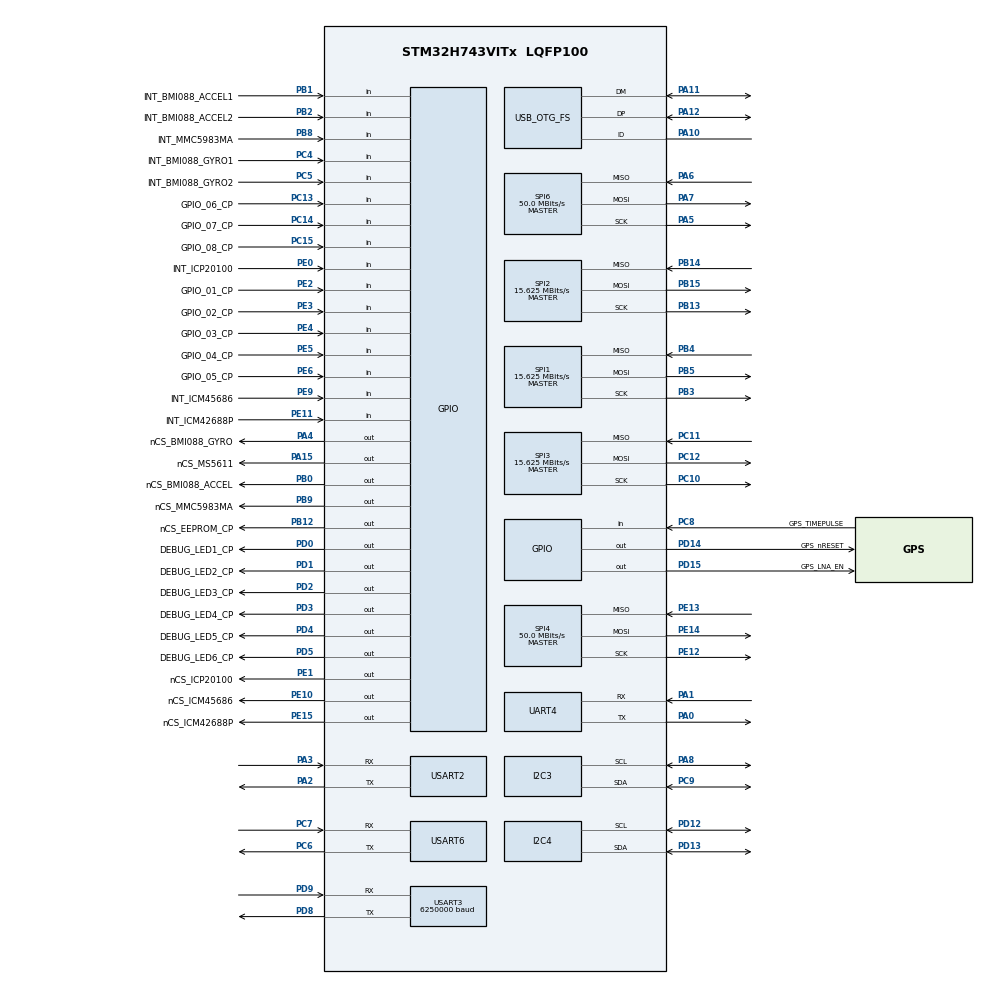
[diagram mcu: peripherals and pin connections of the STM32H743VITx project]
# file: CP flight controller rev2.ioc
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CORTEX_M7.default_mode_Activation=1
I2C3.Timing=0x10C0ECFF
I2C4.Timing=0x10C0ECFF
Mcu.Family=STM32H7
Mcu.Name=STM32H743VITx
Mcu.Package=LQFP100
NVIC.PriorityGroup=NVIC_PRIORITYGROUP_4
NVIC.TIM7_IRQn=true\:0\:0\:false\:false\:true\:true\:true\:true
NVIC.UART4_IRQn=true\:0\:0\:false\:false\:true\:true\:true\:true
NVIC.USART2_IRQn=true\:0\:0\:false\:false\:true\:true\:true\:true
NVIC.USART3_IRQn=true\:0\:0\:false\:false\:true\:true\:true\:true
NVIC.USART6_IRQn=true\:0\:0\:false\:false\:true\:true\:true\:true
PA0.Mode=Asynchronous
PA0.Signal=UART4_TX
PA1.Mode=Asynchronous
PA1.Signal=UART4_RX
PA10.Mode=OTG/Dual_Role_Device
PA10.PinAttribute=Free
PA10.Signal=USB_OTG_FS_ID
PA11.Mode=OTG/Dual_Role_Device
PA11.PinAttribute=Free
PA11.Signal=USB_OTG_FS_DM
PA12.Mode=OTG/Dual_Role_Device
PA12.PinAttribute=Free
PA12.Signal=USB_OTG_FS_DP
PA13\ (JTMS/SWDIO).Mode=Serial_Wire
PA13\ (JTMS/SWDIO).PinAttribute=Free
PA13\ (JTMS/SWDIO).Signal=DEBUG_JTMS-SWDIO
PA14\ (JTCK/SWCLK).Mode=Serial_Wire
PA14\ (JTCK/SWCLK).PinAttribute=Free
PA14\ (JTCK/SWCLK).Signal=DEBUG_JTCK-SWCLK
PA15\ (JTDI).GPIO_Label=nCS_MS5611
PA15\ (JTDI).Signal=GPIO_Output
PA2.Mode=Asynchronous
PA2.Signal=USART2_TX
PA3.Mode=Asynchronous
PA3.Signal=USART2_RX
PA4.GPIO_Label=nCS_BMI088_GYRO
PA4.Signal=GPIO_Output
PA5.Mode=Full_Duplex_Master
PA5.Signal=SPI6_SCK
PA6.Mode=Full_Duplex_Master
PA6.Signal=SPI6_MISO
PA7.Mode=Full_Duplex_Master
PA7.Signal=SPI6_MOSI
PA8.Mode=I2C
PA8.PinAttribute=Free
PA8.Signal=I2C3_SCL
PB0.GPIO_Label=nCS_BMI088_ACCEL
PB0.Signal=GPIO_Output
PB1.GPIO_Label=INT_BMI088_ACCEL1
PB1.Signal=GPIO_Input
PB12.GPIO_Label=nCS_EEPROM_CP
PB12.Signal=GPIO_Output
PB13.Mode=Full_Duplex_Master
PB13.Signal=SPI2_SCK
PB14.Mode=Full_Duplex_Master
PB14.Signal=SPI2_MISO
PB15.Mode=Full_Duplex_Master
PB15.Signal=SPI2_MOSI
PB2.GPIO_Label=INT_BMI088_ACCEL2
PB2.Signal=GPIO_Input
PB3\ (JTDO/TRACESWO).Mode=Full_Duplex_Master
PB3\ (JTDO/TRACESWO).Signal=SPI1_SCK
PB4\ (NJTRST).Mode=Full_Duplex_Master
PB4\ (NJTRST).Signal=SPI1_MISO
PB5.Mode=Full_Duplex_Master
PB5.Signal=SPI1_MOSI
PB8.GPIO_Label=INT_MMC5983MA
PB8.Signal=GPIO_Input
PB9.GPIO_Label=nCS_MMC5983MA
PB9.Signal=GPIO_Output
PC10.Mode=Full_Duplex_Master
PC10.PinAttribute=Free
PC10.Signal=SPI3_SCK
PC11.Mode=Full_Duplex_Master
PC11.Signal=SPI3_MISO
PC12.Mode=Full_Duplex_Master
PC12.PinAttribute=Free
PC12.Signal=SPI3_MOSI
PC13.GPIO_Label=GPIO_06_CP
PC13.Signal=GPIO_Input
PC14-OSC32_IN\ (OSC32_IN).GPIO_Label=GPIO_07_CP
PC14-OSC32_IN\ (OSC32_IN).Signal=GPIO_Input
PC15-OSC32_OUT\ (OSC32_OUT).GPIO_Label=GPIO_08_CP
PC15-OSC32_OUT\ (OSC32_OUT).Signal=GPIO_Input
PC4.GPIO_Label=INT_BMI088_GYRO1
PC4.Signal=GPIO_Input
PC5.GPIO_Label=INT_BMI088_GYRO2
PC5.Signal=GPIO_Input
PC6.Mode=Asynchronous
PC6.PinAttribute=Free
PC6.Signal=USART6_TX
PC7.Mode=Asynchronous
PC7.PinAttribute=Free
PC7.Signal=USART6_RX
PC8.GPIO_Label=GPS_TIMEPULSE
PC8.Signal=GPIO_Input
PC9.Mode=I2C
PC9.PinAttribute=Free
PC9.Signal=I2C3_SDA
PD0.GPIO_Label=DEBUG_LED1_CP
PD0.Signal=GPIO_Output
PD1.GPIO_Label=DEBUG_LED2_CP
PD1.Signal=GPIO_Output
PD12.Mode=I2C
PD12.PinAttribute=Free
PD12.Signal=I2C4_SCL
PD13.Mode=I2C
PD13.PinAttribute=Free
PD13.Signal=I2C4_SDA
PD14.GPIO_Label=GPS_nRESET
PD14.Signal=GPIO_Output
PD15.GPIO_Label=GPS_LNA_EN
PD15.Signal=GPIO_Output
PD2.GPIO_Label=DEBUG_LED3_CP
PD2.Signal=GPIO_Output
PD3.GPIO_Label=DEBUG_LED4_CP
PD3.Signal=GPIO_Output
PD4.GPIO_Label=DEBUG_LED5_CP
PD4.Signal=GPIO_Output
PD5.GPIO_Label=DEBUG_LED6_CP
PD5.Signal=GPIO_Output
PD8.Mode=Asynchronous
PD8.Signal=USART3_TX
PD9.Mode=Asynchronous
PD9.PinAttribute=Free
PD9.Signal=USART3_RX
PE0.GPIO_Label=INT_ICP20100
PE0.Signal=GPIO_Input
PE1.GPIO_Label=nCS_ICP20100
PE1.Signal=GPIO_Output
PE10.GPIO_Label=nCS_ICM45686
PE10.Signal=GPIO_Output
PE11.GPIO_Label=INT_ICM42688P
PE11.Signal=GPIO_Input
PE12.Mode=Full_Duplex_Master
PE12.Signal=SPI4_SCK
PE13.Mode=Full_Duplex_Master
PE13.Signal=SPI4_MISO
PE14.Mode=Full_Duplex_Master
PE14.Signal=SPI4_MOSI
PE15.GPIO_Label=nCS_ICM42688P
PE15.Signal=GPIO_Output
PE2.GPIO_Label=GPIO_01_CP
PE2.Signal=GPIO_Input
PE3.GPIO_Label=GPIO_02_CP
PE3.Signal=GPIO_Input
PE4.GPIO_Label=GPIO_03_CP
PE4.Signal=GPIO_Input
PE5.GPIO_Label=GPIO_04_CP
PE5.Signal=GPIO_Input
PE6.GPIO_Label=GPIO_05_CP
PE6.Signal=GPIO_Input
PE9.GPIO_Label=INT_ICM45686
PE9.Signal=GPIO_Input
PH0-OSC_IN\ (PH0).Mode=HSE-External-Oscillator
PH0-OSC_IN\ (PH0).Signal=RCC_OSC_IN
PH1-OSC_OUT\ (PH1).Mode=HSE-External-Oscillator
PH1-OSC_OUT\ (PH1).Signal=RCC_OSC_OUT
ProjectManager.HeapSize=0x200
ProjectManager.StackSize=0x400
ProjectManager.TargetToolchain=STM32CubeIDE
RCC.ADCFreq_Value=50390625
RCC.APB1Freq_Value=100000000
RCC.APB2Freq_Value=100000000
RCC.APB3Freq_Value=100000000
RCC.APB4Freq_Value=100000000
RCC.CortexFreq_Value=400000000
RCC.D1PPRE=RCC_APB3_DIV2
RCC.D2PPRE1=RCC_APB1_DIV2
RCC.D2PPRE2=RCC_APB2_DIV2
RCC.D3PPRE=RCC_APB4_DIV2
RCC.DIVM1=2
RCC.DIVM3=2
RCC.DIVN1=64
RCC.DIVN3=40
RCC.DIVP3=16
RCC.EnbaleCSS=true
RCC.HCLKFreq_Value=200000000
RCC.HPRE=RCC_HCLK_DIV2
RCC.HSE_VALUE=25000000
RCC.PLL2FRACN=0
RCC.PLL3FRACN=0
RCC.PLLFRACN=0
RCC.PLLSourceVirtual=RCC_PLLSOURCE_HSE
RCC.SPI123CLockSelection=RCC_SPI123CLKSOURCE_PLL3
RCC.SYSCLKFreq_VALUE=400000000
RCC.SYSCLKSource=RCC_SYSCLKSOURCE_PLLCLK
RCC.USBCLockSelection=RCC_USBCLKSOURCE_HSI48
RCC.USBFreq_Value=48000000
SPI1.BaudRatePrescaler=SPI_BAUDRATEPRESCALER_2
SPI1.CalculateBaudRate=15.625 MBits/s
SPI1.Direction=SPI_DIRECTION_2LINES
SPI1.Mode=SPI_MODE_MASTER
SPI1.VirtualType=VM_MASTER
SPI2.BaudRatePrescaler=SPI_BAUDRATEPRESCALER_2
SPI2.CalculateBaudRate=15.625 MBits/s
SPI2.Direction=SPI_DIRECTION_2LINES
SPI2.Mode=SPI_MODE_MASTER
SPI2.VirtualType=VM_MASTER
SPI3.BaudRatePrescaler=SPI_BAUDRATEPRESCALER_2
SPI3.CalculateBaudRate=15.625 MBits/s
SPI3.Direction=SPI_DIRECTION_2LINES
SPI3.Mode=SPI_MODE_MASTER
SPI3.VirtualType=VM_MASTER
SPI4.BaudRatePrescaler=SPI_BAUDRATEPRESCALER_2
SPI4.CalculateBaudRate=50.0 MBits/s
SPI4.Direction=SPI_DIRECTION_2LINES
SPI4.Mode=SPI_MODE_MASTER
SPI4.VirtualType=VM_MASTER
SPI6.BaudRatePrescaler=SPI_BAUDRATEPRESCALER_2
SPI6.CalculateBaudRate=50.0 MBits/s
SPI6.Direction=SPI_DIRECTION_2LINES
SPI6.Mode=SPI_MODE_MASTER
SPI6.VirtualType=VM_MASTER
TIM7.AutoReloadPreload=TIM_AUTORELOAD_PRELOAD_ENABLE
TIM7.Period=1
TIM7.Prescaler=24999
USART2.VirtualMode-Asynchronous=VM_ASYNC
USART3.BaudRate=6250000
USART3.VirtualMode-Asynchronous=VM_ASYNC
USART6.VirtualMode=VM_ASYNC
VP_MEMORYMAP_VS_MEMORYMAP.Mode=CurAppReg
VP_TIM7_VS_ClockSourceINT.Mode=Enable_Timer
board=custom

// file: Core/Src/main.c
/* USER CODE BEGIN Header */
/**
 ******************************************************************************
 * @file           : main.c
 * @brief          : Main program body
 ******************************************************************************
 * @attention
 *
 * Copyright (c) 2025 STMicroelectronics.
 * All rights reserved.
 *
 * This software is licensed under terms that can be found in the LICENSE file
 * in the root directory of this software component.
 * If no LICENSE file comes with this software, it is provided AS-IS.
 *
 ******************************************************************************
 */
/* USER CODE END Header */
#include "main.h"
#include "i2c.h"
#include "memorymap.h"
#include "spi.h"
#include "tim.h"
#include "usart.h"
#include "usb_otg.h"
#include "gpio.h"

/* USER CODE BEGIN Includes */

#include <stdio.h>
#include <string.h>
#include "BMI088.h"
#include "ICM42688P.h"
#include "ICM45686.h"
#include "MS5611.h"
#include "ICP20100.h"
#include "IBUS.h"
#include "CRSF.h"
#include "SBUS.h"
#include "M9N.h"
#include "PID.h"
//#include "EEPROM.h"
#include "ekf_imu.h"

/* USER CODE END Includes */

/* USER CODE BEGIN PTD */

int _write(int file, char* p, int len)
{
	for(int i=0;i<len;i++)
	{
		while(!LL_USART_IsActiveFlag_TXE(USART2));
		LL_USART_TransmitData8(USART2, *(p+i));
	}
	return len;
}

/* USER CODE END PTD */

/* USER CODE BEGIN PD */

#define DEBUG_NO       0
#define IBUS_PROTOCOL  1
#define CRSF_PROTOCOL  0
#define SBUS_PROTOCOL  0

/* USER CODE END PD */

/* USER CODE BEGIN PV */
extern uint8_t usart2_rx_flag;					// DEBUG
extern uint8_t usart2_rx_data;					// DEBUG
//extern uint8_t usart3_rx_flag;					// Uart CP-MP
//extern uint8_t usart3_rx_data;					// Uart CP-MP
extern uint8_t gps_ubx_rx_buffer[36];			// GPS BUFFER
extern uint8_t gps_ubx_rx_complete_flag;		// GPS COMPLETE FLAG

extern uint8_t ibus_rx_buffer[32];				// FLYSKY IBUS BUFFER
extern uint8_t ibus_rx_complete_flag;			// FLYSKY IBUS COMPLETE FLAG
extern uint8_t crsf_rx_buffer[26];				// CRSF BUFFER
extern uint8_t crsf_rx_complete_flag;			// CRSF COMPLETE FLAG
extern uint8_t sbus_rx_buffer[25];				// SBUS BUFFER
extern uint8_t sbus_rx_complete_flag;			// SBUS COMPLETE FLAG

uint8_t cp_2_mp_tx_buffer[40]={0};				// CP-MP TX BUFFER

extern uint8_t tim7_1ms_flag;

const unsigned int timer_freq= 200000000;
const unsigned short max_ccr = (timer_freq / (4000*2))-1;
const unsigned short min_ccr = max_ccr/2;

/* USER CODE END PV */

void SystemClock_Config(void);
void PeriphCommonClock_Config(void);
static void MPU_Config(void);
/* USER CODE BEGIN PFP */

int16_t map(int16_t x, int16_t in_min, int16_t in_max, int16_t out_min, int16_t out_max);
void SEND_DATA_UART(unsigned char* data, USART_TypeDef * USARTx, uint32_t length);
int Is_Data_Received(void);
int Is_Throttle_Min(void);

/* USER CODE END PFP */

int main(void)
{

	/* USER CODE BEGIN 1 */
	unsigned char  failsafe_flag = 0;
	unsigned char  motor_arming_flag = 0;
	unsigned short armed_switch;
	unsigned short armed_switch_prev = 0;
	unsigned short ccr1, ccr2, ccr3, ccr4;
	unsigned short setpoint_roll;
	unsigned short setpoint_pitch;
	unsigned short setpoint_throttle;
	unsigned short setpoint_yaw;
	float yaw_heading_reference;

	/* USER CODE END 1 */

	/* MPU Configuration--------------------------------------------------------*/
	MPU_Config();

	/* MCU Configuration--------------------------------------------------------*/

	/* Reset of all peripherals, Initializes the Flash interface and the Systick. */
	HAL_Init();

	/* Configure the system clock */
	SystemClock_Config();

	/* Configure the peripherals common clocks */
	PeriphCommonClock_Config();

	/* Initialize all configured peripherals */
	MX_GPIO_Init();
	MX_I2C3_Init();
	MX_I2C4_Init();
	MX_SPI1_Init();
	MX_SPI2_Init();
	MX_SPI3_Init();
	MX_SPI4_Init();
	MX_SPI6_Init();
	MX_USART2_UART_Init();
	MX_USART3_UART_Init();
	MX_USART6_UART_Init();
	MX_USB_OTG_FS_USB_Init();
	MX_UART4_Init();
	MX_TIM7_Init();
	/* USER CODE BEGIN 2 */

	/* ENABLE INTERRUPT --------------------------------------------------------------------------*/
	/* THIS ENABLE INTERRUPT IRQ_HANDLER WHEN DATA IS RECEIVED */
	LL_USART_EnableIT_RXNE(USART2);		// DEBUG
	LL_USART_EnableIT_RXNE(USART3);		// Uart CP-MP
	LL_USART_EnableIT_RXNE(UART4);		// Receiver
	LL_USART_EnableIT_RXNE(USART6);		// GPS1

	/* INITIALIZATION ----------------------------------------------------------------------------*/
	ICM45686_Initialization();
	ICM42688P_Initialization();
	BMI088_Initialization();
	ICP20100_Initialization();
	MS5611_Initialization();
	//	IBUS_UART_Initialization();
	//	CRSF_UART_Initialization();
	//	SBUS_UART_Initialization();
	M9N_Initialization();
	//  EEPROM_Initialization();
	PIDController_Init_All();
	PIDController_Init_Constants();
	ekf_init();

	/* CHECK DATA RECEIVED -----------------------------------------------------------------------*/
	while(Is_Data_Received() == 0);
	/* SAFETY ------------------------------------------------------------------------------------*/
	while(Is_Throttle_Min() == 0);

	LL_TIM_EnableCounter(TIM7); //10Hz, 50Hz, 1kHz loop
	LL_TIM_EnableIT_UPDATE(TIM7);

	cp_2_mp_tx_buffer[0]=0x0f;
	cp_2_mp_tx_buffer[1]=0xf3;

	/* USER CODE END 2 */

	/* Infinite loop */
	/* USER CODE BEGIN WHILE */
	while (1)
	{
		/* ICM45686 IMU ------------------------------------------------------------------------------*/
		if(ICM45686_DataReady() == 1)
		{
			ICM45686_Get6AxisRawData(&ICM45686.accel_x_raw , &ICM45686.gyro_x_raw);
			//		  ICM45686_Get3AxisGyroRawData(&ICM45686.accel_x_raw);
			//		  ICM45686_Get3AxisAccRawData(&ICM45686.gyro_x_raw);
			ICM45686_TempRawData(&ICM45686.temperature_raw);

			ICM45686_Calculate_Accel_Gyro_Temp(&ICM45686, 16.f , 2000.f);	// ALREADY HAS FORMULA AND RAW DATA

			//			ICM45686.accel_x = ICM45686.accel_x_raw * 16.f / 32768.f;
			//			ICM45686.accel_y = ICM45686.accel_y_raw * 16.f / 32768.f;
			//			ICM45686.accel_z = ICM45686.accel_z_raw * 16.f / 32768.f;
			//			ICM45686.gyro_x  = ICM45686.gyro_x_raw  * 2000.f / 32768.f;
			//			ICM45686.gyro_y  = ICM45686.gyro_y_raw  * 2000.f / 32768.f;
			//			ICM45686.gyro_z  = ICM45686.gyro_z_raw  * 2000.f / 32768.f;
			//			ICM45686.temperature = (ICM45686.temperature_raw / 132.48f)+25.f;

#if DEBUG_NO == 1
			printf("%d\t%d\t%d\n", ICM45686.accel_x_raw, ICM45686.accel_y_raw, ICM45686.accel_z_raw);
			printf("%f\t%f\t%f\n", (float)(ICM45686.accel_x), (float)(ICM45686.accel_y), (float)(ICM45686.accel_z));
			printf("%d\t%d\t%d\n", ICM45686.gyro_x_raw, ICM45686.gyro_y_raw, ICM45686.gyro_z_raw);
			printf("%f\t%f\t%f\n", (float)(ICM45686.gyro_x), (float)(ICM45686.gyro_y), (float)(ICM45686.gyro_z));
#endif
		}

		/* ICM42688P IMU -----------------------------------------------------------------------------*/
		if(ICM42688P_DataReady() == 1)
		{
			ICM42688P_Get6AxisRawData(&ICM42688P.accel_x_raw , &ICM42688P.gyro_x_raw);
			//		  ICM42688P_Get3AxisGyroRawData(&ICM42688P.accel_x_raw);
			//		  ICM42688P_Get3AxisAccRawData(&ICM42688P.gyro_x_raw);
			ICM42688P_TempRawData(&ICM42688P.temperature_raw);

			ICM42688P_Calculate_Accel_Gyro_Temp(&ICM42688P, 16.f , 2000.f);  // ALREADY HAS FORMULA AND RAW DATA

			//			ICM42688P.temperature = (ICM42688P.temperature_raw / 132.48f)+25.f;
			//			ICM42688P.accel_x = ICM42688P.accel_x_raw * 16.f / 32768.f;
			//			ICM42688P.accel_y = ICM42688P.accel_y_raw * 16.f / 32768.f;
			//			ICM42688P.accel_z = ICM42688P.accel_z_raw * 16.f / 32768.f;
			//			ICM42688P.gyro_x  = ICM42688P.gyro_x_raw  * 2000.f / 32768.f;
			//			ICM42688P.gyro_y  = ICM42688P.gyro_y_raw  * 2000.f / 32768.f;
			//			ICM42688P.gyro_z  = ICM42688P.gyro_z_raw  * 2000.f / 32768.f;

#if DEBUG_NO == 2
			printf("%d\t%d\t%d\n", ICM42688P.accel_x_raw, ICM42688P.accel_y_raw, ICM42688P.accel_z_raw);
			printf("%f\t%f\t%f\n", (float)(ICM42688P.accel_x), (float)(ICM42688P.accel_y), (float)(ICM42688P.accel_z));
			printf("%d\t%d\t%d\n", ICM42688P.gyro_x_raw, ICM42688P.gyro_y_raw, ICM42688P.gyro_z_raw);
			printf("%f\t%f\t%f\n", (float)(ICM42688P.gyro_x), (float)(ICM42688P.gyro_y), (float)(ICM42688P.gyro_z));
#endif
		}

		/* BMI088 ACCEL ------------------------------------------------------------------------------*/
		if(BMI088_DataReady_ACCEL() == 1)
		{
			BMI088_Get3AxisAccelRawData(&BMI088.accel_x_raw);
			BMI088_TempRawData(&BMI088.temperature_raw);

			BMI088_Calculate_Accel_Temp(&BMI088, 24.f);	// ALREADY HAS FORMULA AND RAW DATA

			//			BMI088.accel_x = BMI088.accel_x_raw * 24.f / 32768.f;
			//			BMI088.accel_y = BMI088.accel_y_raw * 24.f / 32768.f;
			//			BMI088.accel_z = BMI088.accel_z_raw * 24.f / 32768.f;
			//			BMI088.temperature = (BMI088.temperature_raw / 132.48f)+25.f;

#if DEBUG_NO == 3
			printf("%d\t%d\t%d\n", BMI088.accel_x_raw, BMI088.accel_y_raw, BMI088.accel_z_raw);
			printf("%f\t%f\t%f\n", (float)(BMI088.accel_x), (float)(BMI088.accel_y), (float)(BMI088.accel_z));
#endif
		}

		/* BMI088 GYRO -------------------------------------------------------------------------------*/
		if(BMI088_DataReady_GYRO() == 1)
		{
			BMI088_Get3AxisGyroRawData(&BMI088.gyro_x_raw);

			BMI088_Calculate_Gyro(&BMI088, 2000.f);	// ALREADY HAS FORMULA AND RAW DATA

			//			BMI088.gyro_x = BMI088.gyro_x_raw * 2000.f / 32768.f;
			//			BMI088.gyro_y = BMI088.gyro_y_raw * 2000.f / 32768.f;
			//			BMI088.gyro_z = BMI088.gyro_z_raw * 2000.f / 32768.f;

#if DEBUG_NO == 4
			printf("%d\t%d\t%d\n", BMI088.gyro_x_raw, BMI088.gyro_y_raw, BMI088.gyro_z_raw);
			printf("%f\t%f\t%f\n", (float)(BMI088.gyro_x), (float)(BMI088.gyro_y), (float)(BMI088.gyro_z));
#endif
		}

		/* ICP20100 BARO -----------------------------------------------------------------------------*/
		if(ICP20100_DataReady() == 1)
		{
			ICP20100_Get_Raw_Pressure_And_Temp(&ICP20100.raw_pressure , &ICP20100.raw_temperature);
			//		  ICP20100_Get_Raw_Pressure(&ICP20100.raw_pressure);
			//		  ICP20100_Get_Raw_Temperature(&ICP20100.raw_temperature);
			//		  ICP20100_Get_Altitude(&ICP20100);					// ALREADY HAS FORMULA AND RAW DATA
			//		  ICP20100_Get_Altitude_Temp_Corrected(&ICP20100);	// ALREADY HAS FORMULA AND RAW DATA

			// FORMULA TO CONVERT RAW DATA TO MEANINGFUL DATA
			ICP20100.pressure    = (float)(ICP20100.raw_pressure    >> 17 )*40.f+70.f;
			ICP20100.temperature = (float)(ICP20100.raw_temperature >> 18 )*65.f+25.f;

#define BARO_FILTER1 0.90f // MOVE TO TOP
			ICP20100.filtered_altitude = (double)(ICP20100.filtered_altitude * BARO_FILTER1 + ICP20100.altitude * (1.0f - BARO_FILTER1));

#if DEBUG_NO == 5
			printf("%ld\t%ld\n", ICP20100.raw_pressure , ICP20100.raw_temperature);
			printf("%f\t%f\n", (float)(ICP20100.pressure) , (float)(ICP20100.temperature));
#endif
		}

		/* MS5611 BARO -------------------------------------------------------------------------------*/
		MS5611_Get_Raw_Pressure(&MS5611.raw_pressure);
		MS5611_Get_Raw_Temperature(&MS5611.raw_temperature);

		MS5611_Calculate_Temperature(&MS5611);			// ALREADY HAS RAW DATA FUNCTION
		MS5611_Calculate_Temperature_Compensated_Pressure(&MS5611);	// ALREADY HAS RAW DATA FUNCTION
		MS5611_Get_Altitude(&MS5611);					// NEED PRESSURE CALCULATION FIRST

#define BARO_FILTER2 0.90f // MOVE TO TOP
		MS5611.filtered_altitude = (double)(MS5611.filtered_altitude * BARO_FILTER2 + MS5611.altitude * (1.0f - BARO_FILTER2));

#if DEBUG_NO == 6
		printf("%lu\t%lu\n", MS5611.raw_pressure , MS5611.raw_temperature);
		printf("%f\t%f\t%f\n", (float)(MS5611.pressure), (float)(MS5611.temperature), (float)(MS5611.altitude));
#endif

		/* GPS UBX -----------------------------------------------------------------------------------*/
		if(gps_ubx_rx_complete_flag == 1)
		{
			gps_ubx_rx_complete_flag = 0;
			if(UBX_Check_CHKSUM(&gps_ubx_rx_buffer[0], 36) == 1)
			{
				UBX_NAV_POSLLH_Parsing(&gps_ubx_rx_buffer[0], &gps_posllh);
#if DEBUG_NO == 7
				printf("LAT: %d\tLON: %d\tHeight: %d\n",
						gps_posllh.lat, gps_posllh.lon, gps_posllh.height);
#endif
			}
		}
#if IBUS_PROTOCOL
		/* IBUS PROTOCOL -----------------------------------------------------------------------------*/
		if(ibus_rx_complete_flag == 1)
		{
			ibus_rx_complete_flag = 0;
			if(IBUS_Check_CHKSUM(&ibus_rx_buffer[0], IBUS_PACKET_SIZE) == 1)
			{
				IBUS_Parsing(&ibus_rx_buffer[0], &iBus);

				setpoint_roll = iBus.roll;
				setpoint_pitch = iBus.pitch;
				setpoint_throttle = iBus.throttle;
				setpoint_yaw = iBus.yaw;
				armed_switch = iBus.switch_A;

				if(IBUS_isActiveFailsafe(&iBus)==1)
				{			// FAILSAFE CODE HERE
					failsafe_flag = 1;
				}
				else
				{

				}
#if DEBUG_NO == 8
				printf("%d\t%d\t%d\t%d\t%d\t%d\n",
						iBus.roll, iBus.pitch,iBus.throttle, iBus.yaw,
						iBus.switch_A , iBus.switch_B);
				HAL_Delay(30);
#endif
			}
		}
#endif

#if CRSF_PROTOCOL
		/* CRSF PROTOCOL -----------------------------------------------------------------------------*/
		if(crsf_rx_complete_flag == 1)
		{
			crsf_rx_complete_flag = 0;

			if(CRSF_Check_crc8(&crsf_rx_buffer[2], CRSF_FRAME_LENGTH - 1) == 1)
			{
				CRSF_Parsing(&crsf_rx_buffer[0], &CRSF);
				//			 setpoint_roll     = map(CRSF.channel[1], 192, 1792, 1000, 2000);
				//			 setpoint_pitch    = map(CRSF.channel[2], 192, 1792, 1000, 2000);
				//			 setpoint_throttle = map(CRSF.channel[3], 192, 1792, 1000, 2000);
				//			 setpoint_yaw      = map(CRSF.channel[4], 192, 1792, 1000, 2000);
				if(CRSF_isActiveFailsafe(&CRSF)==1)
				{			// FAILSAFE CODE HERE
					failsafe_flag = 1;
				}
				else
				{

				}

#if DEBUG_NO == 9
				printf("%d\t%d\t%d\t%d\t%d\t%d\t%d\t%d\t"
						"%d\t%d\t%d\t%d\t%d\t%d\t%d\t%d\n",
						CRSF.channel[0] ,CRSF.channel[1] ,CRSF.channel[2] ,CRSF.channel[3],
						CRSF.channel[4] ,CRSF.channel[5] ,CRSF.channel[6] ,CRSF.channel[7],
						CRSF.channel[8] ,CRSF.channel[9] ,CRSF.channel[10],CRSF.channel[11],
						CRSF.channel[12],CRSF.channel[13],CRSF.channel[14],CRSF.channel[15]);
				HAL_Delay(30);
#endif
			}
		}
#endif

#if SBUS_PROTOCOL
		/* SBUS PROTOCOL -----------------------------------------------------------------------------*/
		if(sbus_rx_complete_flag == 1)
		{
			sbus_rx_complete_flag = 0;
			SBUS_Parsing(&sbus_rx_buffer[0], &SBUS);
			//			 setpoint_roll     = map(SBUS.channel[1], 192, 1792, 1000, 2000);
			//			 setpoint_pitch    = map(SBUS.channel[2], 192, 1792, 1000, 2000);
			//			 setpoint_throttle = map(SBUS.channel[3], 192, 1792, 1000, 2000);
			//			 setpoint_yaw      = map(SBUS.channel[4], 192, 1792, 1000, 2000);
			if(SBUS_isActiveFailsafe(&SBUS)==1)
			{			// FAILSAFE CODE HERE
				failsafe_flag = 1;
			}
			else
			{

			}
#if DEBUG_NO == 10
			printf("%d\t%d\t%d\t%d\t%d\t%d\t%d\t%d\t"
					"%d\t%d\t%d\t%d\t%d\t%d\t%d\t%d\t"
					"%d\t%d\t%d\t%d\t%d\n",
					SBUS.channel[0] ,SBUS.channel[1] ,SBUS.channel[2] ,SBUS.channel[3],
					SBUS.channel[4] ,SBUS.channel[5] ,SBUS.channel[6] ,SBUS.channel[7],
					SBUS.channel[8] ,SBUS.channel[9] ,SBUS.channel[10],SBUS.channel[11],
					SBUS.channel[12],SBUS.channel[13],SBUS.channel[14],SBUS.channel[15],
					SBUS.channel_17,SBUS.channel_18,SBUS.frame_lost,SBUS.failsafe_activated,
					SBUS.footer);
			HAL_Delay(30);
#endif
		}
#endif

		/*	BMI088.gyro_x
			BMI088.gyro_y
			BMI088.gyro_z
			BMI088.accel_x
			BMI088.accel_y
			BMI088.accel_z

			ICM42688P.accel_x
			ICM42688P.accel_y
			ICM42688P.accel_z
			ICM42688P.gyro_x
			ICM42688P.gyro_y
			ICM42688P.gyro_z

			ICM45686.accel_x
			ICM45686.accel_y
			ICM45686.accel_z
			ICM45686.gyro_x
			ICM45686.gyro_y
			ICM45686.gyro_z
		 * */

		if(tim7_1ms_flag == 1)
		{
			tim7_1ms_flag = 0;

			float gx = ICM42688P.gyro_x;		// BMI088.gyro_x , ICM42688P.gyro_x , ICM45686.gyro_x
			float gy = ICM42688P.gyro_y;		// BMI088.gyro_y , ICM42688P.gyro_y , ICM45686.gyro_y
			float gz = ICM42688P.gyro_z;		// BMI088.gyro_z , ICM42688P.gyro_z , ICM45686.gyro_z

			float ax = ICM42688P.accel_x;		// BMI088.accel_x , ICM42688P.accel_x , ICM45686.accel_x
			float ay = ICM42688P.accel_y;		// BMI088.accel_y , ICM42688P.accel_y , ICM45686.accel_y
			float az = ICM42688P.accel_z;		// BMI088.accel_z , ICM42688P.accel_z , ICM45686.accel_z

			ekf_predict(gx, gy, gz);
			ekf_update_accel(ax, ay, az);
			float quat[4];
			get_quaternion(quat);

			float ROLL, PITCH, YAW;
			quaternion_to_euler_deg(quat, &ROLL, &PITCH, &YAW);
			printf("ROLL: %.2f  PITCH: %.2f  YAW: %.2f\n", ROLL, PITCH, YAW);

			Double_Loop_PID_Calculation(&roll, (setpoint_roll - 1500) * 0.1f, ROLL, gy);
			Double_Loop_PID_Calculation(&pitch, (setpoint_pitch - 1500) * 0.1f, PITCH, gx);

			if(setpoint_throttle < 1030 || motor_arming_flag == 0)
			{
				Reset_All_PID_Integral();
			}

			if(setpoint_yaw < 1485 || setpoint_yaw > 1515)
			{
				yaw_heading_reference = YAW;
				Single_Loop_Rate_PID_Calculation(&yaw_rate, (setpoint_yaw - 1500), gz);

				ccr1 = min_ccr + 500 + (setpoint_throttle - 1000) * 12 - pitch.pid_in.result + roll.pid_in.result - yaw_rate.result;
				ccr2 = min_ccr + 500 + (setpoint_throttle - 1000) * 12 + pitch.pid_in.result + roll.pid_in.result + yaw_rate.result;
				ccr3 = min_ccr + 500 + (setpoint_throttle - 1000) * 12 + pitch.pid_in.result - roll.pid_in.result - yaw_rate.result;
				ccr4 = min_ccr + 500 + (setpoint_throttle - 1000) * 12 - pitch.pid_in.result - roll.pid_in.result + yaw_rate.result;
			}
			else
			{
				Single_Loop_Heading_PID_Calculation(&yaw_heading, yaw_heading_reference, YAW, gz);

				ccr1 = min_ccr + 500 + (setpoint_throttle - 1000) * 12 - pitch.pid_in.result + roll.pid_in.result - yaw_heading.result;
				ccr2 = min_ccr + 500 + (setpoint_throttle - 1000) * 12 + pitch.pid_in.result + roll.pid_in.result + yaw_heading.result;
				ccr3 = min_ccr + 500 + (setpoint_throttle - 1000) * 12 + pitch.pid_in.result - roll.pid_in.result - yaw_heading.result;
				ccr4 = min_ccr + 500 + (setpoint_throttle - 1000) * 12 - pitch.pid_in.result - roll.pid_in.result + yaw_heading.result;
			}
		}

		if(armed_switch == 2000 && armed_switch_prev != 2000)
		{
			if(setpoint_throttle < 1010)
			{
				motor_arming_flag = 1;
				yaw_heading_reference = ICM42688P.yaw;
			}
			else
			{
				while(Is_Throttle_Min() == 0 || armed_switch == 2000)
				{
					HAL_Delay(70);
				}
			}
		}
		armed_switch_prev = armed_switch;

		if(armed_switch != 2000)
		{
			motor_arming_flag = 0;
		}

		if(motor_arming_flag == 1)
		{
			if(failsafe_flag == 0)
			{
				if(setpoint_throttle > 1030)
				{
					ccr1 = ccr1 > max_ccr ? max_ccr : ccr1 < min_ccr+500 ? min_ccr+500 : ccr1;
					ccr2 = ccr2 > max_ccr ? max_ccr : ccr2 < min_ccr+500 ? min_ccr+500 : ccr2;
					ccr3 = ccr3 > max_ccr ? max_ccr : ccr3 < min_ccr+500 ? min_ccr+500 : ccr3;
					ccr4 = ccr4 > max_ccr ? max_ccr : ccr4 < min_ccr+500 ? min_ccr+500 : ccr4;
				}
				else
				{
					ccr1 = min_ccr + 500;
					ccr2 = min_ccr + 500;
					ccr3 = min_ccr + 500;
					ccr4 = min_ccr + 500;
				}
			}
			else
			{
				ccr1 = min_ccr;
				ccr2 = min_ccr;
				ccr3 = min_ccr;
				ccr4 = min_ccr;
			}
		}
		else
		{
			ccr1 = min_ccr;
			ccr2 = min_ccr;
			ccr3 = min_ccr;
			ccr4 = min_ccr;
		}

		memcpy(&cp_2_mp_tx_buffer[2],  &setpoint_roll,       sizeof(unsigned short));
		memcpy(&cp_2_mp_tx_buffer[4],  &setpoint_pitch,      sizeof(unsigned short));
		memcpy(&cp_2_mp_tx_buffer[6],  &setpoint_throttle,   sizeof(unsigned short));
		memcpy(&cp_2_mp_tx_buffer[8],  &setpoint_yaw,        sizeof(unsigned short));
		memcpy(&cp_2_mp_tx_buffer[10], &ccr1,                sizeof(unsigned short));
		memcpy(&cp_2_mp_tx_buffer[12], &ccr2,                sizeof(unsigned short));
		memcpy(&cp_2_mp_tx_buffer[14], &ccr3,                sizeof(unsigned short));
		memcpy(&cp_2_mp_tx_buffer[16], &ccr4,                sizeof(unsigned short));
		memcpy(&cp_2_mp_tx_buffer[18], &pitch.pid_in.result, sizeof(float));
		memcpy(&cp_2_mp_tx_buffer[22], &roll.pid_in.result,  sizeof(float));
		memcpy(&cp_2_mp_tx_buffer[26], &yaw_rate.result,     sizeof(float));
		memcpy(&cp_2_mp_tx_buffer[30], &yaw_heading.result,  sizeof(float));
		memcpy(&cp_2_mp_tx_buffer[34], &failsafe_flag,       sizeof(unsigned char));
		memcpy(&cp_2_mp_tx_buffer[35], &motor_arming_flag,   sizeof(unsigned char));
		//		memcpy(&cp_2_mp_tx_buffer[36], &yaw_heading.result,  sizeof(float));
		//		memcpy(&cp_2_mp_tx_buffer[37], &yaw_heading.result,  sizeof(float));

		SEND_DATA_UART(&cp_2_mp_tx_buffer[0], USART3, sizeof(cp_2_mp_tx_buffer));// CONTAINS CHKSUM GENRATOR

		/* USER CODE END WHILE */

	}
}

void SystemClock_Config(void)
{
	LL_FLASH_SetLatency(LL_FLASH_LATENCY_2);
	while(LL_FLASH_GetLatency()!= LL_FLASH_LATENCY_2)
	{
	}
	LL_PWR_ConfigSupply(LL_PWR_LDO_SUPPLY);
	LL_PWR_SetRegulVoltageScaling(LL_PWR_REGU_VOLTAGE_SCALE1);
	while (LL_PWR_IsActiveFlag_VOS() == 0)
	{
	}
	LL_RCC_HSE_Enable();

	/* Wait till HSE is ready */
	while(LL_RCC_HSE_IsReady() != 1)
	{

	}
	LL_RCC_HSI48_Enable();

	/* Wait till HSI48 is ready */
	while(LL_RCC_HSI48_IsReady() != 1)
	{

	}
	LL_RCC_HSE_EnableCSS();
	LL_RCC_PLL_SetSource(LL_RCC_PLLSOURCE_HSE);
	LL_RCC_PLL1P_Enable();
	LL_RCC_PLL1R_Enable();
	LL_RCC_PLL1_SetVCOInputRange(LL_RCC_PLLINPUTRANGE_8_16);
	LL_RCC_PLL1_SetVCOOutputRange(LL_RCC_PLLVCORANGE_WIDE);
	LL_RCC_PLL1_SetM(2);
	LL_RCC_PLL1_SetN(64);
	LL_RCC_PLL1_SetP(2);
	LL_RCC_PLL1_SetQ(2);
	LL_RCC_PLL1_SetR(2);
	LL_RCC_PLL1_Enable();

	/* Wait till PLL is ready */
	while(LL_RCC_PLL1_IsReady() != 1)
	{
	}

	/* Intermediate AHB prescaler 2 when target frequency clock is higher than 80 MHz */
	LL_RCC_SetAHBPrescaler(LL_RCC_AHB_DIV_2);

	LL_RCC_SetSysClkSource(LL_RCC_SYS_CLKSOURCE_PLL1);

	/* Wait till System clock is ready */
	while(LL_RCC_GetSysClkSource() != LL_RCC_SYS_CLKSOURCE_STATUS_PLL1)
	{

	}
	LL_RCC_SetSysPrescaler(LL_RCC_SYSCLK_DIV_1);
	LL_RCC_SetAHBPrescaler(LL_RCC_AHB_DIV_2);
	LL_RCC_SetAPB1Prescaler(LL_RCC_APB1_DIV_2);
	LL_RCC_SetAPB2Prescaler(LL_RCC_APB2_DIV_2);
	LL_RCC_SetAPB3Prescaler(LL_RCC_APB3_DIV_2);
	LL_RCC_SetAPB4Prescaler(LL_RCC_APB4_DIV_2);
	LL_SetSystemCoreClock(400000000);

	/* Update the time base */
	if (HAL_InitTick (TICK_INT_PRIORITY) != HAL_OK)
	{
		Error_Handler();
	}
	LL_RCC_HSE_EnableCSS();
}

void PeriphCommonClock_Config(void)
{
	LL_RCC_PLL3P_Enable();
	LL_RCC_PLL3_SetVCOInputRange(LL_RCC_PLLINPUTRANGE_8_16);
	LL_RCC_PLL3_SetVCOOutputRange(LL_RCC_PLLVCORANGE_WIDE);
	LL_RCC_PLL3_SetM(2);
	LL_RCC_PLL3_SetN(40);
	LL_RCC_PLL3_SetP(16);
	LL_RCC_PLL3_SetQ(2);
	LL_RCC_PLL3_SetR(2);
	LL_RCC_PLL3_Enable();

	/* Wait till PLL is ready */
	while(LL_RCC_PLL3_IsReady() != 1)
	{
	}

}

/* USER CODE BEGIN 4 */
int16_t map(int16_t x, int16_t in_min, int16_t in_max, int16_t out_min, int16_t out_max) {
	return (x - in_min) * (out_max - out_min) / (in_max - in_min) + out_min;
}
void SEND_DATA_UART(unsigned char* data, USART_TypeDef * USARTx, uint32_t length){

	unsigned short crc = 0xFFFF;			// Initial value
	unsigned short polynomial = 0x1021;

	for (uint32_t i = 0; i < length; i++) {
		crc ^= (uint16_t)data[i] << 8;
		for (uint8_t j = 0; j < 8; j++) {
			if (crc & 0x8000)
				crc = (crc << 1) ^ polynomial;
			else
				crc <<= 1;
		}
	}
	data[length-2]=(crc&0xFF);		// LSB
	data[length-1]=(crc >> 8);		// MSB

	for(uint32_t i=0;i<length;i++)
	{
		while(!LL_USART_IsActiveFlag_TXE(USARTx));
		LL_USART_TransmitData8(USARTx, data[i]);
	}

}

int Is_Data_Received(void)
{
#if IBUS_PROTOCOL
	if(ibus_rx_complete_flag == 1)
	{
		ibus_rx_complete_flag = 0;
		if(IBUS_Check_CHKSUM(&ibus_rx_buffer[0], 32) == 1)
		{
			IBUS_Parsing(&ibus_rx_buffer[0], &iBus);
			return 1;
		}
	}
#endif
#if CRSF_PROTOCOL
	if(crsf_rx_complete_flag == 1)
	{
		crsf_rx_complete_flag = 0;
		if(CRSF_Check_crc8(&crsf_rx_buffer[2], CRSF_FRAME_LENGTH - 1) == 1)
		{
			CRSF_Parsing(&crsf_rx_buffer[0], &CRSF);
			return 1;
		}
	}
#endif
#if SBUS_PROTOCOL
	if(sbus_rx_complete_flag == 1)
	{
		sbus_rx_complete_flag = 0;
		SBUS_Parsing(&sbus_rx_buffer[0], &SBUS);
		return 1;
	}
#endif
	return 0;
}

int Is_Throttle_Min(void)
{
#if IBUS_PROTOCOL
	if(ibus_rx_complete_flag == 1)
	{
		ibus_rx_complete_flag = 0;
		if(IBUS_Check_CHKSUM(&ibus_rx_buffer[0], IBUS_PACKET_SIZE) == 1)
		{
			IBUS_Parsing(&ibus_rx_buffer[0], &iBus);
			if(iBus.throttle < 1000+10) return 1;
		}
	}
#endif

#if CRSF_PROTOCOL
	if(crsf_rx_complete_flag == 1)
	{
		crsf_rx_complete_flag = 0;
		if(CRSF_Check_crc8(&crsf_rx_buffer[2], CRSF_FRAME_LENGTH - 1) == 1)
		{
			CRSF_Parsing(&crsf_rx_buffer[0], &CRSF);
			if(CRSF.channel[0] < CRSF_CHANNEL_MIN+10) return 1;// 192
		}
	}
#endif

#if SBUS_PROTOCOL
	if(sbus_rx_complete_flag == 1)
	{
		sbus_rx_complete_flag = 0;
		SBUS_Parsing(&sbus_rx_buffer[0], &SBUS);
		if(SBUS.channel[0] < SBUS_CHANNEL_MIN+10) return 1;
	}
#endif

	return 0;
}

/* USER CODE END 4 */

/* MPU Configuration */

void MPU_Config(void)
{

	/* Disables the MPU */
	LL_MPU_Disable();

	/** Initializes and configures the Region and the memory to be protected
	 */
	LL_MPU_ConfigRegion(LL_MPU_REGION_NUMBER0, 0x87, 0x0, LL_MPU_REGION_SIZE_4GB|LL_MPU_TEX_LEVEL0|LL_MPU_REGION_NO_ACCESS|LL_MPU_INSTRUCTION_ACCESS_DISABLE|LL_MPU_ACCESS_SHAREABLE|LL_MPU_ACCESS_NOT_CACHEABLE|LL_MPU_ACCESS_NOT_BUFFERABLE);
	/* Enables the MPU */
	LL_MPU_Enable(LL_MPU_CTRL_PRIVILEGED_DEFAULT);

}

void Error_Handler(void)
{
	__disable_irq();
	while (1)
	{
	}
}
